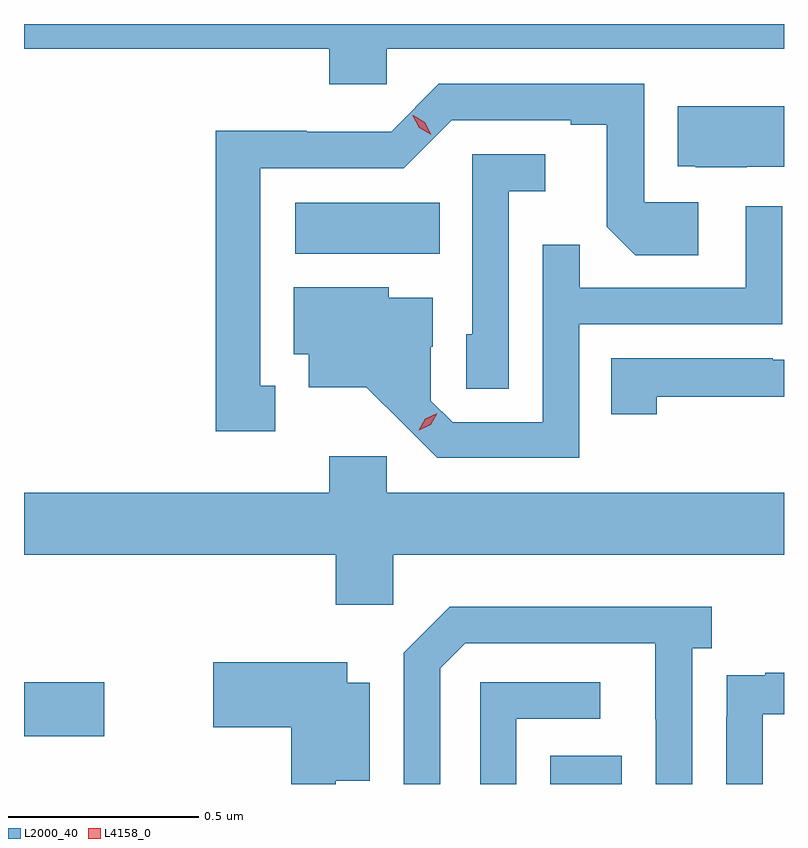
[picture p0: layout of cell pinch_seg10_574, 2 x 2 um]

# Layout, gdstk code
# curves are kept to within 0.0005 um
import gdstk
lib = gdstk.Library(unit=1e-6, precision=1e-09)
def R(c, l, rs):  # rectangles x0, y0, x1, y1
    for r in rs: c.add(gdstk.rectangle(r[:2], r[2:], *l))
def P(c, l, *ps):  # polygons
    for p in ps: c.add(gdstk.Polygon(p, *l))
L2000_40 = (2000, 40)
L4158_0 = (4158, 0)

pinch_seg10_574 = lib.new_cell('pinch_seg10_574')
R(pinch_seg10_574, L2000_40, [(334.961,1281.065,335.149,1281.139), (333.576,1281.191,333.787,1281.333), (334.29,1282.46,334.67,1282.594)])
P(pinch_seg10_574, L2000_40, [(334.53,1283),(335.576,1283),(335.576,1283.065),(333.576,1283.065),(333.576,1283),(334.379,1283),(334.379,1282.907),(334.53,1282.907)],
  [(334.237,1282.113),(334.198,1282.113),(334.198,1282.686),(334.575,1282.686),(334.701,1282.812),(335.015,1282.812),(335.015,1282.8),(335.109,1282.8),(335.109,1282.532),(335.185,1282.456),(335.35,1282.456),(335.35,1282.596),(335.208,1282.596),(335.208,1282.908),(334.668,1282.908),(334.542,1282.782),(334.32,1282.782),(334.32,1282.784),(334.08,1282.784),(334.08,1281.993),(334.237,1281.993)],
  [(335.478,1282.689),(335.576,1282.689),(335.576,1282.849),(335.297,1282.849),(335.297,1282.691),(335.341,1282.691),(335.344,1282.688),(335.478,1282.688)],
  [(334.851,1282.625),(334.948,1282.625),(334.948,1282.722),(334.755,1282.722),(334.755,1282.248),(334.74,1282.248),(334.74,1282.105),(334.851,1282.105)],
  [(335.037,1282.275),(335.571,1282.275),(335.571,1282.585),(335.475,1282.585),(335.475,1282.371),(335.039,1282.371),(335.039,1282.484),(334.941,1282.484),(334.941,1282.017),(334.704,1282.017),(334.647,1282.074),(334.647,1282.216),(334.651,1282.216),(334.651,1282.345),(334.536,1282.345),(334.536,1282.372),(334.286,1282.372),(334.286,1282.196),(334.325,1282.196),(334.325,1282.109),(334.477,1282.109),(334.664,1281.924),(335.037,1281.924)],
  [(335.241,1282.084),(335.576,1282.084),(335.576,1282.182),(335.546,1282.182),(335.546,1282.185),(335.122,1282.185),(335.122,1282.038),(335.241,1282.038)],
  [(334.548,1281.668),(335.576,1281.668),(335.576,1281.832),(334.53,1281.832),(334.53,1281.928),(334.379,1281.928),(334.379,1281.832),(333.576,1281.832),(333.576,1281.668),(334.397,1281.668),(334.397,1281.537),(334.548,1281.537)],
  [(334.671,1281.369),(334.737,1281.435),(335.237,1281.435),(335.237,1281.235),(335.238,1281.235),(335.238,1281.065),(335.334,1281.065),(335.334,1281.422),(335.386,1281.422),(335.386,1281.532),(334.696,1281.532),(334.575,1281.411),(334.575,1281.065),(334.671,1281.065)],
  [(334.397,1281.074),(334.486,1281.074),(334.486,1281.331),(334.426,1281.331),(334.426,1281.385),(334.074,1281.385),(334.074,1281.215),(334.279,1281.215),(334.279,1281.065),(334.397,1281.065)],
  [(335.52,1281.249),(335.576,1281.249),(335.576,1281.358),(335.527,1281.358),(335.527,1281.351),(335.425,1281.351),(335.425,1281.242),(335.424,1281.242),(335.424,1281.065),(335.52,1281.065)],
  [(334.872,1281.237),(335.092,1281.237),(335.092,1281.333),(334.776,1281.333),(334.776,1281.065),(334.872,1281.065)])
P(pinch_seg10_574, L4158_0, [(334.615,1281.996),(334.615,1281.996),(334.632,1282.026),(334.663,1282.041),(334.663,1282.041),(334.663,1282.041),(334.646,1282.011),(334.616,1281.996)],
  [(334.648,1282.773),(334.616,1282.792),(334.599,1282.824),(334.599,1282.825),(334.6,1282.825),(334.631,1282.806),(334.648,1282.773),(334.648,1282.773)])

lib.write_gds('pinch_seg10_574.gds')
